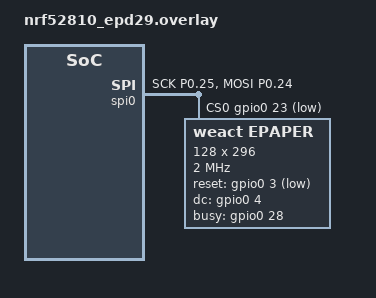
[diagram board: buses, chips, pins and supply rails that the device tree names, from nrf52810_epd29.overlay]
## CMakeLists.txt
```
# WeAct 2.9" E-Paper Test - NRF52810-DK
cmake_minimum_required(VERSION 3.20.0)

# Add driver to build
set(DRIVER_DIR ${CMAKE_CURRENT_SOURCE_DIR}/../../driver)

# Add custom device tree bindings path
list(APPEND DTS_ROOT ${CMAKE_CURRENT_SOURCE_DIR}/../..)

find_package(Zephyr REQUIRED HINTS $ENV{ZEPHYR_BASE})
project(epaper_29_nrf52810)

# Include driver headers
target_include_directories(app PRIVATE ${DRIVER_DIR}/include)

# Build driver sources
target_sources(app PRIVATE
    # Application
    src/main.c
    # Driver sources
    ${DRIVER_DIR}/src/weact_epaper.c
    ${DRIVER_DIR}/src/weact_epaper_paint.c
    ${DRIVER_DIR}/src/weact_epaper_font.c
)
```

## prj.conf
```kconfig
# WeAct 2.9" E-Paper Configuration

# Enable required drivers
CONFIG_SPI=y
CONFIG_GPIO=y

# Logging
CONFIG_LOG=y
CONFIG_LOG_MODE_IMMEDIATE=y
CONFIG_PRINTK=y
CONFIG_EARLY_CONSOLE=y

# Memory settings
CONFIG_MAIN_STACK_SIZE=8192
CONFIG_HEAP_MEM_POOL_SIZE=16384

# SPI Configuration
CONFIG_SPI_INIT_PRIORITY=70
```

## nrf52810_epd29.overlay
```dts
/*
 * Copyright (c) 2025 WeAct Studio
 * SPDX-License-Identifier: Apache-2.0
 *
 * nRF52810-DK + WeAct 2.9" E-Paper Display (128x296)
 */

&pinctrl {
	spi0_default: spi0_default {
		group1 {
			psels = <NRF_PSEL(SPIM_SCK, 0, 25)>,
				<NRF_PSEL(SPIM_MOSI, 0, 24)>;
		};
	};

	spi0_sleep: spi0_sleep {
		group1 {
			psels = <NRF_PSEL(SPIM_SCK, 0, 25)>,
				<NRF_PSEL(SPIM_MOSI, 0, 24)>;
			low-power-enable;
		};
	};
};

&spi0 {
	compatible = "nordic,nrf-spim";
	status = "okay";
	pinctrl-0 = <&spi0_default>;
	pinctrl-1 = <&spi0_sleep>;
	pinctrl-names = "default", "sleep";
	cs-gpios = <&gpio0 23 GPIO_ACTIVE_LOW>;

	epaper: epaper@0 {
		compatible = "weact,epaper";
		reg = <0>;
		spi-max-frequency = <2000000>;
		reset-gpios = <&gpio0 3 GPIO_ACTIVE_LOW>;
		dc-gpios = <&gpio0 4 GPIO_ACTIVE_HIGH>;
		busy-gpios = <&gpio0 28 GPIO_ACTIVE_HIGH>;
		width = <128>;
		height = <296>;
		panel-type = <0>; /* EPD213_219 also supports 2.9" */
		color-mode = "bw";
	};
};
```

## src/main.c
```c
/*
 * WeAct 2.9 E-Paper Display Test for NRF52810-DK
 * Display: WIDTHxHEIGHT pixels, Black & White
 */

#include <zephyr/kernel.h>
#include <zephyr/device.h>
#include <zephyr/logging/log.h>
#include <string.h>
#include "weact_epaper.h"

LOG_MODULE_REGISTER(epaper_test, LOG_LEVEL_INF);

#define EPAPER_NODE DT_NODELABEL(epaper)
#define DISPLAY_WIDTH  128
#define DISPLAY_HEIGHT 296
#define WIDTH_BYTE     ((DISPLAY_WIDTH % 8 == 0) ? (DISPLAY_WIDTH / 8) : (DISPLAY_WIDTH / 8 + 1))
#define BUFFER_SIZE    (WIDTH_BYTE * DISPLAY_HEIGHT)

static const struct device *epaper_dev = DEVICE_DT_GET(EPAPER_NODE);
static uint8_t display_buffer[BUFFER_SIZE];

void test_display_info(void)
{
	LOG_INF("========================================");
	LOG_INF("WeAct 2.9\" E-Paper Display Test");
	LOG_INF("========================================");
	LOG_INF("Board: NRF52810-DK");
	LOG_INF("Display: WIDTHxHEIGHT pixels");
	LOG_INF("Buffer size: %d bytes", BUFFER_SIZE);
	LOG_INF("========================================\n");
}

void test_clear_display(void)
{
	LOG_INF("[TEST 1] Clearing display to WHITE...");
	epd_clear(epaper_dev, EPD_COLOR_WHITE);
	LOG_INF("✓ Display cleared\n");
	k_sleep(K_SECONDS(2));
}

void test_display_text(void)
{
	LOG_INF("[TEST 2] Displaying text...");

	epd_paint_newimage(epaper_dev, display_buffer, DISPLAY_WIDTH, DISPLAY_HEIGHT,
	                   EPD_ROTATE_0, EPD_COLOR_WHITE);
	epd_paint_clear(epaper_dev, EPD_COLOR_WHITE);

	epd_paint_show_string(epaper_dev, 10, 10, "WeAct Studio",
	                      EPD_FONT_SIZE8x6, EPD_COLOR_BLACK);
	epd_paint_show_string(epaper_dev, 10, 25, "2.9\" E-Paper",
	                      EPD_FONT_SIZE8x6, EPD_COLOR_BLACK);

	char info[32];
	snprintf(info, sizeof(info), "Size: WIDTHxHEIGHT", DISPLAY_WIDTH, DISPLAY_HEIGHT);
	epd_paint_show_string(epaper_dev, 10, 50, info,
	                      EPD_FONT_SIZE8x6, EPD_COLOR_BLACK);

	epd_paint_show_string(epaper_dev, 10, 65, "Board: NRF52810",
	                      EPD_FONT_SIZE8x6, EPD_COLOR_BLACK);
	epd_paint_show_string(epaper_dev, 10, 80, "Status: OK",
	                      EPD_FONT_SIZE8x6, EPD_COLOR_BLACK);

	epd_paint_draw_circle(epaper_dev, 30, 120, 15, EPD_COLOR_BLACK, 0);
	epd_paint_draw_rectangle(epaper_dev, 60, 105, 90, 135, EPD_COLOR_BLACK, 1);

	epd_display_bw(epaper_dev, display_buffer);
	epd_update(epaper_dev);
	LOG_INF("✓ Text and shapes displayed\n");
	k_sleep(K_SECONDS(3));
}

int main(void)
{
	int ret;

	test_display_info();

	if (!device_is_ready(epaper_dev)) {
		LOG_ERR("❌ E-Paper device not ready!");
		return -ENODEV;
	}
	LOG_INF("✓ E-Paper device is ready\n");

	LOG_INF("Initializing 2.9\" E-Paper display...");
	ret = epd_init(epaper_dev);
	if (ret) {
		LOG_ERR("❌ Failed to initialize display: %d", ret);
		return ret;
	}
	LOG_INF("✓ Display initialized successfully\n");
	k_sleep(K_SECONDS(1));

	while (1) {
		LOG_INF("\n╔══════════════════════════════════════╗");
		LOG_INF("║  Starting Test Sequence              ║");
		LOG_INF("╚══════════════════════════════════════╝\n");

		test_clear_display();
		test_display_text();

		LOG_INF("[DONE] Test complete!");
		LOG_INF("Clearing and sleeping...\n");
		epd_clear(epaper_dev, EPD_COLOR_WHITE);
		epd_enter_deepsleepmode(epaper_dev, EPD_DEEPSLEEP_MODE1);

		LOG_INF("Waiting 10 seconds...\n");
		k_sleep(K_SECONDS(10));

		ret = epd_init(epaper_dev);
		if (ret) {
			LOG_ERR("❌ Failed to re-initialize: %d", ret);
			return ret;
		}
	}

	return 0;
}
```
